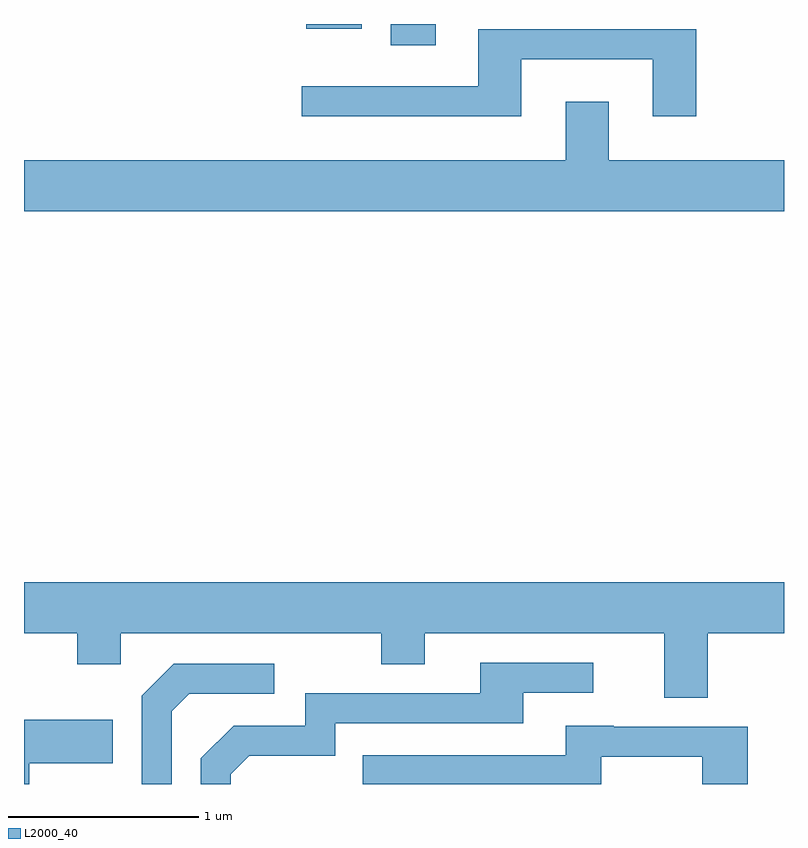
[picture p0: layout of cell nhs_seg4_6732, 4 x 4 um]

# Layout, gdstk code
import gdstk
lib = gdstk.Library(unit=1e-6, precision=1e-09)
def R(c, l, rs):  # rectangles x0, y0, x1, y1
    for r in rs: c.add(gdstk.rectangle(r[:2], r[2:], *l))
def P(c, l, *ps):  # polygons
    for p in ps: c.add(gdstk.Polygon(p, *l))
L2000_40 = (2000, 40)

nhs_seg4_6732 = lib.new_cell('nhs_seg4_6732')
R(nhs_seg4_6732, L2000_40, [(385.541,1257.871,385.778,1257.982), (385.096,1257.956,385.389,1257.982)])
P(nhs_seg4_6732, L2000_40, [(386.229,1257.796),(386.921,1257.796),(386.921,1257.496),(387.149,1257.496),(387.149,1257.954),(386.001,1257.954),(386.001,1257.654),(385.073,1257.654),(385.073,1257.496),(386.229,1257.496)],
  [(387.611,1257.264),(386.689,1257.264),(386.689,1257.574),(386.461,1257.574),(386.461,1257.264),(383.611,1257.264),(383.611,1256.996),(387.611,1256.996)],
  [(387.209,1254.776),(387.611,1254.776),(387.611,1255.044),(383.611,1255.044),(383.611,1254.776),(383.891,1254.776),(383.891,1254.611),(384.119,1254.611),(384.119,1254.776),(385.491,1254.776),(385.491,1254.611),(385.719,1254.611),(385.719,1254.776),(386.981,1254.776),(386.981,1254.436),(387.209,1254.436)],
  [(384.699,1254.034),(384.797,1254.131),(385.249,1254.131),(385.249,1254.301),(386.239,1254.301),(386.239,1254.461),(386.608,1254.461),(386.608,1254.619),(386.011,1254.619),(386.011,1254.459),(385.091,1254.459),(385.091,1254.289),(384.714,1254.289),(384.541,1254.117),(384.541,1253.982),(384.699,1253.982)],
  [(384.389,1254.364),(384.482,1254.456),(384.928,1254.456),(384.928,1254.614),(384.399,1254.614),(384.231,1254.447),(384.231,1253.982),(384.389,1253.982)],
  [(383.639,1254.091),(384.079,1254.091),(384.079,1254.319),(383.611,1254.319),(383.611,1253.982),(383.639,1253.982)],
  [(386.649,1254.126),(387.181,1254.126),(387.181,1253.982),(387.419,1253.982),(387.419,1254.284),(386.715,1254.284),(386.715,1254.289),(386.461,1254.289),(386.461,1254.134),(385.393,1254.134),(385.393,1253.982),(386.649,1253.982)])

lib.write_gds('nhs_seg4_6732.gds')
